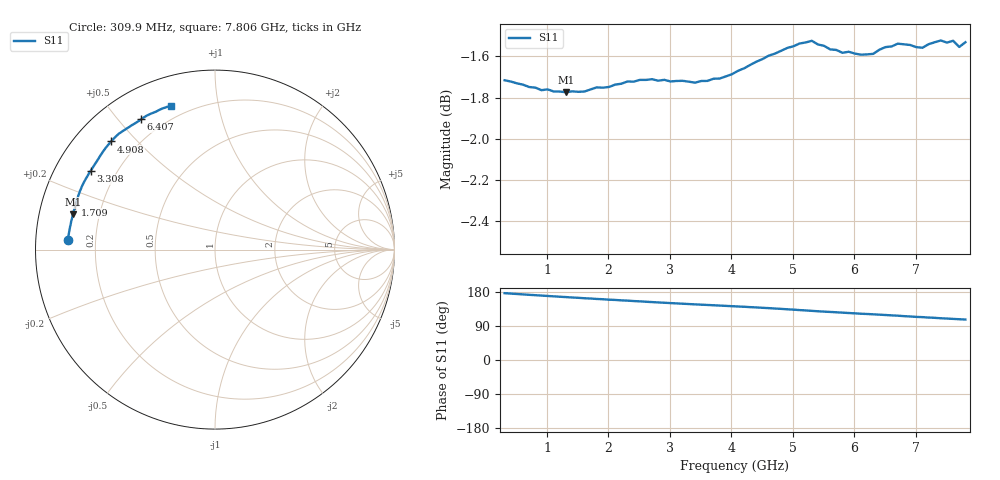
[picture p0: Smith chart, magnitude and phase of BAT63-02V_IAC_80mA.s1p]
! Infineon Technologies  Discrete & RF Semiconductors
! BAT63-02V
! IAC = 80 mA
! One-Port S-Parameters
# Hz  S  MA  R  50
!f  S11
!Hz  Mag  Ang
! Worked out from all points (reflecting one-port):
!   76 points, 309.9 MHz to 7.806 GHz, reference 50 ohm
!   lowest |S11| = -1.8 dB at 1.309 GHz (marker M1), VSWR 9.83, Z = 5.16 + j6.07 ohm
!   phase of S11 starts at 176 deg and turns -70 deg over the sweep
!   S11 on the Smith chart (normalised r, x): 309.9 MHz: 0.10, +0.03; 1.709 GHz: 0.10, +0.15; 3.308 GHz: 0.11, +0.29; 4.908 GHz: 0.11, +0.42; 6.407 GHz: 0.12, +0.58; 7.806 GHz: 0.14, +0.73
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3.0985e8  0.8208 176.3
7.0965e8  0.8177 172.0
1.30935e9  0.8153 166.0
1.6092e9  0.8156 163.0
1.70915e9  0.8166 162.2
1.8091e9  0.8175 161.1
1.90905e9  0.8174 160.3
2.009e9  0.8177 159.1
2.10895e9  0.8188 158.5
2.2089e9  0.8192 157.4
2.50875e9  0.8209 154.8
2.8086e9  0.8206 151.9
3.2084e9  0.8205 148.5
3.30835e9  0.8201 147.6
4.10795e9  0.8251 141.2
4.4078e9  0.8294 138.8
4.90755e9  0.8357 133.8
5.0075e9  0.8365 132.9
5.4073e9  0.8374 128.6
6.007e9  0.8331 123.1
6.4068e9  0.8349 119.6
6.70665e9  0.8378 116.9
6.90655e9  0.8371 114.9
7.0065e9  0.8361 113.7
7.10645e9  0.8358 113.1
7.30635e9  0.8384 111.3
7.4063e9  0.8393 110.2
7.8061e9  0.8384 106.8
